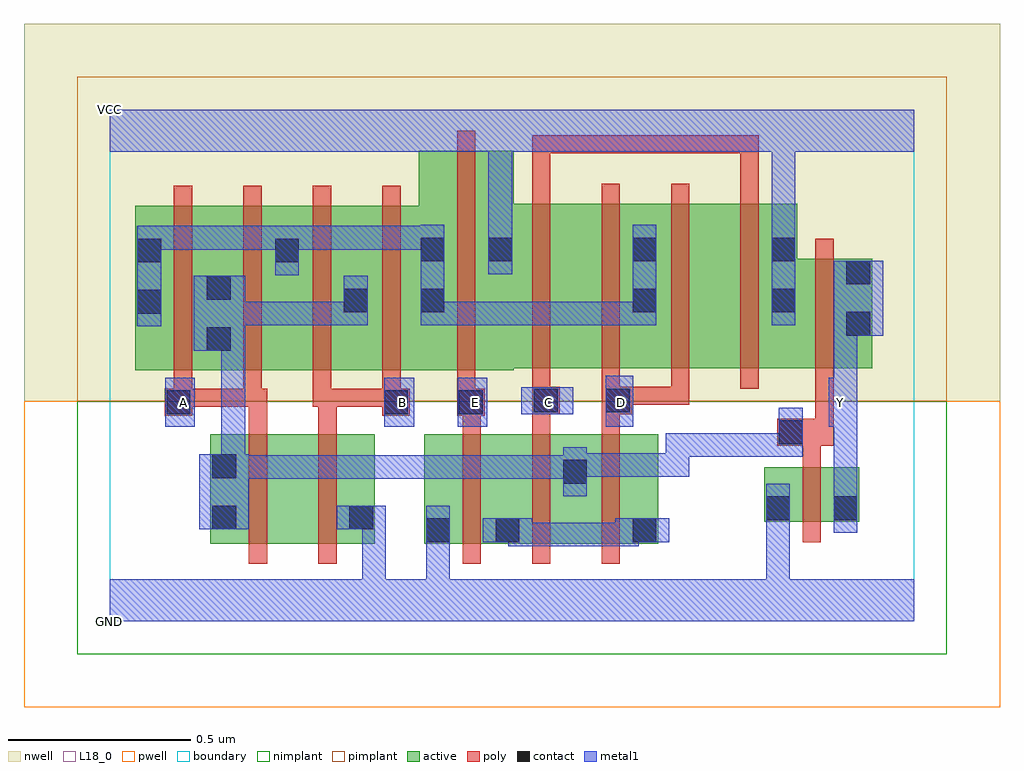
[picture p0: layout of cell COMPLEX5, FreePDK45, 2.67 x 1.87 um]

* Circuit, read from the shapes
.subckt COMPLEX5 A B C D E GND VCC Y
M1 n1 A n2 VSUBS nfet w=0.3u l=0.05u
M2 GND B n1 VSUBS nfet w=0.3u l=0.05u
M3 n3 E GND VSUBS nfet w=0.3u l=0.05u
M4 n2 C n3 VSUBS nfet w=0.3u l=0.05u
M5 n3 D n2 VSUBS nfet w=0.3u l=0.05u
M6 Y n2 GND VSUBS nfet w=0.15u l=0.05u
M7 n2 A n4 n5 pfet w=0.45u l=0.05u m=2
M8 n2 B n4 n5 pfet w=0.45u l=0.05u m=2
M9 VCC E n4 n5 pfet w=0.6u l=0.05u
M10 n6 C VCC n5 pfet w=0.45u l=0.05u
M11 n4 D n6 n5 pfet w=0.45u l=0.05u
M12 n7 D n4 n5 pfet w=0.45u l=0.05u
M13 VCC C n7 n5 pfet w=0.45u l=0.05u
M14 Y n2 VCC n5 pfet w=0.3u l=0.05u
.ends

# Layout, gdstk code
import gdstk
lib = gdstk.Library(unit=1e-6, precision=1e-09)
def R(c, l, rs):  # rectangles x0, y0, x1, y1
    for r in rs: c.add(gdstk.rectangle(r[:2], r[2:], *l))
def A(c, l, x, y, w, h, nx, ny, dx, dy):  # array of equal rectangles
    R(c, l, [(x+i*dx, y+j*dy, x+i*dx+w, y+j*dy+h) for i in range(nx) for j in range(ny)])
active = (1, 0)
pwell = (2, 0)
nwell = (3, 0)
nimplant = (4, 0)
pimplant = (5, 0)
poly = (9, 0)
contact = (10, 0)
metal1 = (11, 0)
L18_0 = (18, 0)
boundary = (235, 0)

complex5 = lib.new_cell('COMPLEX5')
R(complex5, active, [(0.275,0.212,0.5,0.512), (0.5,0.212,0.725,0.512), (0.86,0.212,0.935,0.512), (0.86,0.212,1.125,0.512), (1.05,0.212,1.31,0.512), (1.05,0.212,1.125,0.392), (1.235,0.212,1.5,0.512), (1.425,0.212,1.5,0.512), (0.275,0.247,0.35,0.512), (0.65,0.247,0.725,0.512), (1.235,0.247,1.31,0.447), (1.79,0.272,1.865,0.422), (1.79,0.272,2.05,0.422), (1.975,0.272,2.05,0.422), (0.07,0.687,0.335,1.137), (0.07,0.687,0.145,1.107), (0.26,0.687,0.335,1.07), (0.26,0.687,0.522,1.137), (0.447,0.687,0.71,1.137), (0.635,0.687,0.92,1.137), (0.635,0.687,0.71,1.07), (0.845,0.687,1.105,1.287), (0.845,0.687,0.92,1.2), (1.03,0.692,1.275,1.142), (1.275,0.692,1.5,1.142), (1.425,0.692,1.655,1.142), (1.655,0.692,1.88,1.142), (1.805,0.692,2.085,0.992), (1.805,0.692,1.88,1.055), (2.01,0.692,2.085,0.992), (1.425,0.732,1.5,1.107), (1.03,0.822,1.105,1.107), (0.447,0.857,0.522,1.107)])
R(complex5, pwell, [(-0.235,-0.235,2.435,0.602)])
R(complex5, nwell, [(-0.235,0.602,2.435,1.635)])
R(complex5, nimplant, [(-0.09,-0.09,2.29,0.602)])
R(complex5, pimplant, [(-0.09,0.602,2.29,1.49)])
A(complex5, poly, 0.965, 0.157, 0.05, 0.41, 3, 1, 0.19, 0)
A(complex5, poly, 0.175, 0.587, 0.05, 0.095, 4, 1, 0.19, 0)
A(complex5, poly, 1.155, 0.592, 0.05, 0.095, 3, 1, 0.19, 0)
A(complex5, poly, 0.175, 0.632, 0.05, 0.56, 4, 1, 0.19, 0)
A(complex5, poly, 1.155, 0.637, 0.05, 0.56, 4, 1, 0.19, 0)
R(complex5, poly, [(0.38,0.157,0.43,0.567), (0.57,0.157,0.62,0.567), (1.895,0.217,1.945,0.477), (1.895,0.427,1.945,0.53), (1.825,0.48,1.98,0.555), (1.93,0.505,1.98,0.687), (0.38,0.517,0.43,0.637), (0.57,0.517,0.62,0.637), (0.965,0.517,1.015,0.612), (1.155,0.517,1.205,0.617), (1.345,0.517,1.395,0.617), (0.15,0.562,0.225,0.637), (0.745,0.562,0.82,0.637), (0.95,0.562,1.025,0.637), (1.155,0.567,1.23,0.642), (1.345,0.567,1.427,0.642), (0.175,0.587,0.225,0.637), (0.175,0.587,0.225,0.637), (0.175,0.587,0.415,0.637), (0.365,0.587,0.43,0.637), (0.555,0.587,0.62,0.637), (0.57,0.587,0.795,0.637), (0.745,0.587,0.795,0.637), (0.745,0.587,0.795,0.637), (0.95,0.587,1,0.682), (1.377,0.592,1.427,0.642), (1.377,0.592,1.427,0.642), (1.377,0.592,1.585,0.642), (1.535,0.592,1.585,0.642), (0.95,0.632,1,1.342), (1.93,0.637,1.98,1.047), (1.155,1.147,1.205,1.33), (1.725,1.147,1.775,1.33), (1.155,1.28,1.205,1.33), (1.155,1.28,1.205,1.33), (1.155,1.28,1.205,1.33), (1.155,1.28,1.362,1.33), (1.312,1.28,1.362,1.33), (1.312,1.28,1.362,1.33), (1.312,1.28,1.362,1.33), (1.312,1.28,1.6,1.33), (1.55,1.28,1.775,1.33), (1.55,1.28,1.6,1.33), (1.55,1.28,1.6,1.33), (1.55,1.28,1.6,1.33), (1.725,1.28,1.775,1.33)])
R(complex5, contact, [(0.865,0.217,0.93,0.282), (1.055,0.217,1.12,0.282), (1.43,0.217,1.495,0.282), (0.28,0.252,0.345,0.317), (0.655,0.252,0.72,0.317), (1.795,0.277,1.86,0.342), (1.98,0.277,2.045,0.342), (1.24,0.377,1.305,0.442), (0.28,0.392,0.345,0.457), (1.83,0.485,1.895,0.55), (0.155,0.567,0.22,0.632), (0.75,0.567,0.815,0.632), (0.955,0.567,1.02,0.632), (1.16,0.572,1.225,0.637), (1.357,0.572,1.422,0.637), (0.265,0.74,0.33,0.805), (2.015,0.782,2.08,0.847), (0.075,0.842,0.14,0.907), (0.64,0.845,0.705,0.91), (0.85,0.845,0.915,0.91), (1.43,0.845,1.495,0.91), (1.81,0.845,1.875,0.91), (0.265,0.88,0.33,0.945), (2.015,0.922,2.08,0.987), (0.075,0.982,0.14,1.047), (0.452,0.982,0.517,1.047), (0.85,0.985,0.915,1.05), (1.035,0.985,1.1,1.05), (1.43,0.985,1.495,1.05), (1.81,0.985,1.875,1.05)])
R(complex5, metal1, [(0,0,2.2,0.115), (0.69,0.05,0.755,0.115), (0.69,0.05,0.755,0.115), (0.69,0.05,0.755,0.317), (0.865,0.05,0.93,0.115), (0.865,0.05,0.93,0.115), (0.865,0.05,0.93,0.247), (1.795,0.05,1.86,0.115), (1.795,0.05,1.86,0.115), (1.795,0.05,1.86,0.307), (0.865,0.182,0.93,0.317), (1.09,0.205,1.155,0.282), (1.09,0.205,1.322,0.27), (1.257,0.205,1.322,0.27), (1.257,0.205,1.447,0.27), (1.382,0.205,1.447,0.282), (1.02,0.217,1.155,0.282), (1.09,0.217,1.155,0.282), (1.382,0.217,1.46,0.282), (1.395,0.217,1.53,0.282), (1.795,0.242,1.86,0.377), (1.795,0.242,1.86,0.307), (1.795,0.242,1.86,0.307), (1.98,0.242,2.045,0.377), (0.245,0.252,0.38,0.457), (0.62,0.252,0.755,0.317), (1.98,0.312,2.045,0.597), (1.24,0.342,1.305,0.477), (0.315,0.39,0.38,0.455), (0.315,0.39,0.38,0.455), (0.315,0.39,0.517,0.455), (0.452,0.39,0.517,0.455), (0.452,0.39,0.517,0.455), (0.452,0.39,0.517,0.455), (0.452,0.39,0.655,0.455), (0.59,0.39,0.655,0.455), (0.59,0.39,0.655,0.455), (0.59,0.39,0.655,0.455), (0.59,0.39,0.947,0.455), (0.882,0.39,0.947,0.455), (0.882,0.39,0.947,0.455), (0.882,0.39,0.947,0.455), (0.882,0.39,1.13,0.455), (1.065,0.39,1.13,0.455), (1.065,0.39,1.13,0.455), (1.065,0.39,1.13,0.455), (1.065,0.39,1.305,0.455), (0.305,0.392,0.37,0.805), (1.24,0.395,1.305,0.46), (1.24,0.395,1.305,0.46), (1.24,0.395,1.585,0.46), (1.52,0.395,1.585,0.46), (1.52,0.395,1.585,0.515), (1.52,0.45,1.585,0.515), (1.52,0.45,1.585,0.515), (1.52,0.45,1.585,0.515), (1.52,0.45,1.722,0.515), (1.657,0.45,1.722,0.515), (1.657,0.45,1.722,0.515), (1.657,0.45,1.722,0.515), (1.657,0.45,1.895,0.515), (1.83,0.45,1.895,0.585), (1.83,0.45,1.895,0.515), (1.83,0.45,1.895,0.515), (0.152,0.532,0.232,0.667), (0.75,0.532,0.832,0.667), (0.952,0.532,1.032,0.667), (1.357,0.532,1.432,0.672), (1.967,0.532,2.045,0.667), (1.125,0.567,1.267,0.64), (1.98,0.602,2.045,0.847), (0.23,0.74,0.37,0.945), (0.305,0.74,0.37,0.805), (0.305,0.74,0.37,0.805), (1.98,0.782,2.115,0.987), (0.075,0.807,0.14,1.082), (0.305,0.81,0.37,0.875), (0.305,0.81,0.37,0.875), (0.305,0.81,0.517,0.875), (0.452,0.81,0.517,0.875), (0.452,0.81,0.517,0.875), (0.452,0.81,0.517,0.875), (0.452,0.81,0.705,0.875), (0.64,0.81,0.705,0.945), (0.85,0.81,0.915,0.875), (0.85,0.81,0.915,0.875), (0.85,0.81,0.915,0.875), (0.85,0.81,0.915,0.875), (0.85,0.81,0.915,1.085), (0.85,0.81,1.085,0.875), (1.02,0.81,1.085,0.875), (1.02,0.81,1.085,0.875), (1.02,0.81,1.085,0.875), (1.02,0.81,1.322,0.875), (1.257,0.81,1.322,0.875), (1.257,0.81,1.322,0.875), (1.257,0.81,1.322,0.875), (1.257,0.81,1.495,0.875), (1.43,0.81,1.495,1.085), (1.81,0.81,1.875,1.085), (0.452,0.947,0.517,1.082), (1.035,0.95,1.1,1.085), (0.075,1.017,0.14,1.082), (0.075,1.017,0.14,1.082), (0.075,1.017,0.37,1.082), (0.305,1.017,0.37,1.082), (0.305,1.017,0.37,1.082), (0.305,1.017,0.37,1.082), (0.305,1.017,0.517,1.082), (0.452,1.017,0.517,1.082), (0.452,1.017,0.517,1.082), (0.452,1.017,0.777,1.082), (0.712,1.017,0.777,1.082), (0.712,1.017,0.777,1.082), (0.712,1.017,0.777,1.082), (0.712,1.017,0.915,1.082), (1.035,1.02,1.1,1.35), (1.81,1.02,1.875,1.085), (1.81,1.02,1.875,1.085), (1.81,1.02,1.875,1.35), (0,1.285,2.2,1.4)])
A(complex5, L18_0, 0.767, 0.567, 0.065, 0.065, 4, 1, 0.2, 0)
R(complex5, L18_0, [(0,0,2.2,0.115), (0.69,0.05,0.755,0.115), (0.69,0.05,0.755,0.115), (0.69,0.05,0.755,0.317), (0.865,0.05,0.93,0.115), (0.865,0.05,0.93,0.115), (0.865,0.05,0.93,0.247), (1.795,0.05,1.86,0.115), (1.795,0.05,1.86,0.115), (1.795,0.05,1.86,0.307), (0.865,0.182,0.93,0.317), (1.795,0.242,1.86,0.307), (1.795,0.242,1.86,0.307), (1.795,0.242,1.86,0.377), (1.98,0.242,2.045,0.377), (0.62,0.252,0.755,0.317), (1.98,0.312,2.045,0.597), (0.152,0.532,0.232,0.667), (0.75,0.532,0.832,0.667), (0.952,0.532,1.032,0.667), (1.357,0.532,1.432,0.672), (1.967,0.532,2.045,0.667), (0.167,0.567,0.232,0.632), (1.125,0.567,1.267,0.64), (1.967,0.567,2.032,0.632), (1.98,0.602,2.045,0.847), (1.98,0.782,2.115,0.987), (1.81,0.81,1.875,1.085), (1.035,0.95,1.1,1.085), (1.035,1.02,1.1,1.35), (1.81,1.02,1.875,1.085), (1.81,1.02,1.875,1.085), (1.81,1.02,1.875,1.35), (0,1.285,2.2,1.4)])
R(complex5, boundary, [(0,0,2.2,1.4)])
complex5.add(gdstk.Label('A', (0.2,0.6), layer=11, texttype=0))
complex5.add(gdstk.Label('B', (0.8,0.6), layer=11, texttype=0))
complex5.add(gdstk.Label('C', (1.2,0.6), layer=11, texttype=0))
complex5.add(gdstk.Label('D', (1.4,0.6), layer=11, texttype=0))
complex5.add(gdstk.Label('E', (1,0.6), layer=11, texttype=0))
complex5.add(gdstk.Label('Y', (2,0.6), layer=11, texttype=0))
complex5.add(gdstk.Label('VCC', (0,1.4), layer=11, texttype=0))
complex5.add(gdstk.Label('GND', (0,0), layer=11, texttype=0))

lib.write_gds('COMPLEX5.gds')
